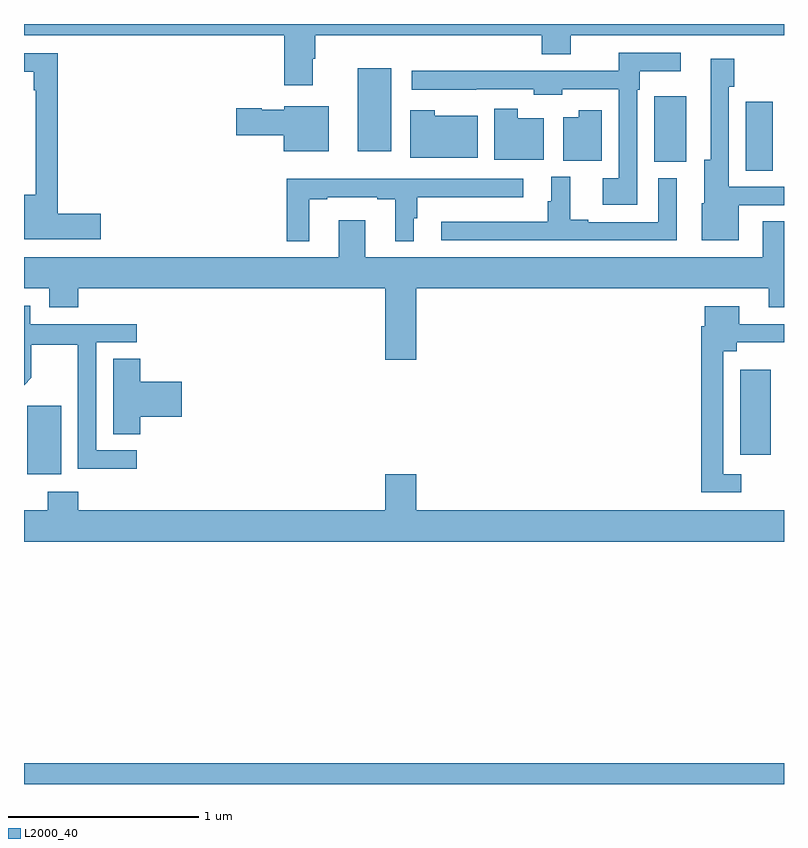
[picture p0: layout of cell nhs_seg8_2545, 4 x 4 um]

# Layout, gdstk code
import gdstk
lib = gdstk.Library(unit=1e-6, precision=1e-09)
def R(c, l, rs):  # rectangles x0, y0, x1, y1
    for r in rs: c.add(gdstk.rectangle(r[:2], r[2:], *l))
def P(c, l, *ps):  # polygons
    for p in ps: c.add(gdstk.Polygon(p, *l))
L2000_40 = (2000, 40)

nhs_seg8_2545 = lib.new_cell('nhs_seg8_2545')
R(nhs_seg8_2545, L2000_40, [(271,1105.9,275,1106.008), (271.016,1107.53,271.195,1107.891), (274.769,1107.633,274.93,1108.081), (274.799,1109.128,274.942,1109.491), (274.316,1109.174,274.486,1109.521), (272.756,1109.231,272.932,1109.668)])
P(nhs_seg8_2545, L2000_40, [(272.521,1109.717),(272.534,1109.717),(272.534,1109.84),(273.725,1109.84),(273.725,1109.741),(273.877,1109.741),(273.877,1109.84),(275,1109.84),(275,1109.9),(271,1109.9),(271,1109.84),(272.369,1109.84),(272.369,1109.577),(272.521,1109.577)],
  [(274.227,1109.555),(274.24,1109.555),(274.24,1109.651),(274.456,1109.651),(274.456,1109.748),(274.129,1109.748),(274.129,1109.654),(273.042,1109.654),(273.042,1109.555),(273.38,1109.555),(273.38,1109.556),(273.684,1109.556),(273.684,1109.528),(273.834,1109.528),(273.834,1109.556),(274.131,1109.556),(274.131,1109.089),(274.047,1109.089),(274.047,1108.949),(274.227,1108.949)],
  [(271.405,1108.901),(271.178,1108.901),(271.178,1109.745),(271,1109.745),(271,1109.649),(271.05,1109.649),(271.05,1109.552),(271.062,1109.552),(271.062,1109.002),(271,1109.002),(271,1108.766),(271.405,1108.766)],
  [(274.762,1108.947),(275,1108.947),(275,1109.043),(274.71,1109.043),(274.71,1109.571),(274.737,1109.571),(274.737,1109.716),(274.614,1109.716),(274.614,1109.185),(274.58,1109.185),(274.58,1108.956),(274.568,1108.956),(274.568,1108.763),(274.762,1108.763)],
  [(272.605,1109.467),(272.37,1109.467),(272.37,1109.449),(272.25,1109.449),(272.25,1109.457),(272.118,1109.457),(272.118,1109.315),(272.366,1109.315),(272.366,1109.231),(272.605,1109.231)],
  [(273.736,1109.404),(273.598,1109.404),(273.598,1109.455),(273.476,1109.455),(273.476,1109.186),(273.736,1109.186)],
  [(273.388,1109.416),(273.162,1109.416),(273.162,1109.446),(273.032,1109.446),(273.032,1109.195),(273.388,1109.195)],
  [(274.042,1109.446),(273.92,1109.446),(273.92,1109.41),(273.839,1109.41),(273.839,1109.18),(274.042,1109.18)],
  [(274.435,1109.089),(274.338,1109.089),(274.338,1108.857),(273.97,1108.857),(273.97,1108.87),(273.874,1108.87),(273.874,1109.095),(273.776,1109.095),(273.776,1108.968),(273.757,1108.968),(273.757,1108.858),(273.195,1108.858),(273.195,1108.761),(274.435,1108.761)],
  [(272.5,1108.977),(272.596,1108.977),(272.596,1108.989),(272.858,1108.989),(272.858,1108.977),(272.954,1108.977),(272.954,1108.757),(273.052,1108.757),(273.052,1108.878),(273.071,1108.878),(273.071,1108.988),(273.628,1108.988),(273.628,1109.085),(272.928,1109.085),(272.928,1109.086),(272.383,1109.086),(272.383,1108.757),(272.5,1108.757)],
  [(273.064,1108.508),(274.919,1108.508),(274.919,1108.409),(275,1108.409),(275,1108.862),(274.889,1108.862),(274.889,1108.672),(272.797,1108.672),(272.797,1108.867),(272.657,1108.867),(272.657,1108.672),(271,1108.672),(271,1108.508),(271.133,1108.508),(271.133,1108.409),(271.286,1108.409),(271.286,1108.508),(272.9,1108.508),(272.9,1108.134),(273.064,1108.134)],
  [(271.594,1107.657),(271.38,1107.657),(271.38,1108.224),(271.594,1108.224),(271.594,1108.32),(271.032,1108.32),(271.032,1108.417),(271,1108.417),(271,1108),(271.037,1108.037),(271.037,1108.212),(271.282,1108.212),(271.282,1107.988),(271.284,1107.988),(271.284,1107.559),(271.594,1107.559)],
  [(274.774,1107.531),(274.68,1107.531),(274.68,1108.178),(274.75,1108.178),(274.75,1108.224),(275,1108.224),(275,1108.32),(274.765,1108.32),(274.765,1108.414),(274.583,1108.414),(274.583,1108.31),(274.564,1108.31),(274.564,1107.435),(274.774,1107.435)],
  [(271.613,1107.833),(271.831,1107.833),(271.831,1108.016),(271.613,1108.016),(271.613,1108.139),(271.469,1108.139),(271.469,1107.742),(271.613,1107.742)],
  [(275,1107.34),(273.064,1107.34),(273.064,1107.529),(272.9,1107.529),(272.9,1107.34),(271.286,1107.34),(271.286,1107.439),(271.126,1107.439),(271.126,1107.34),(271,1107.34),(271,1107.176),(275,1107.176)])

lib.write_gds('nhs_seg8_2545.gds')
